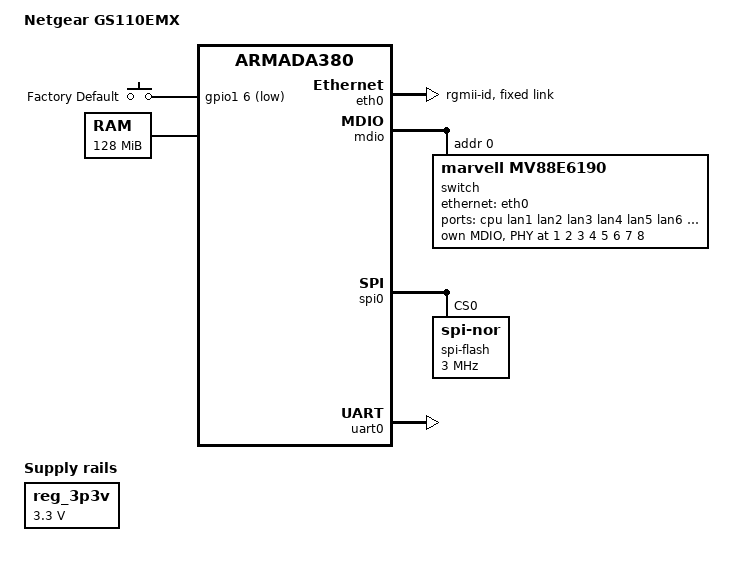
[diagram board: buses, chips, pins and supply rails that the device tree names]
// SPDX-License-Identifier: GPL-2.0-or-later OR MIT
/* Copyright (c) 2021, Marcel Ziswiler <marcel@ziswiler.com> */

/dts-v1/;
#include "armada-385.dtsi"
#include <dt-bindings/gpio/gpio.h>
#include <dt-bindings/input/input.h>

/ {
	model = "Netgear GS110EMX";
	compatible = "netgear,gs110emx", "marvell,armada385", "marvell,armada380";

	aliases {
		/* So that mvebu u-boot can update the MAC addresses */
		ethernet1 = &eth0;
	};

	chosen {
		stdout-path = "serial0:115200n8";
	};

	gpio-keys {
		compatible = "gpio-keys";
		pinctrl-0 = <&front_button_pins>;
		pinctrl-names = "default";

		factory_default {
			label = "Factory Default";
			gpios = <&gpio1 6 GPIO_ACTIVE_LOW>;
			linux,code = <KEY_RESTART>;
		};
	};

	memory {
		device_type = "memory";
		reg = <0x00000000 0x08000000>; /* 128 MB */
	};

	reg_3p3v: regulator-3p3v {
		compatible = "regulator-fixed";
		regulator-name = "3P3V";
		regulator-min-microvolt = <3300000>;
		regulator-max-microvolt = <3300000>;
		regulator-always-on;
	};

	soc {
		ranges = <MBUS_ID(0xf0, 0x01) 0 0xf1000000 0x100000
			  MBUS_ID(0x01, 0x1d) 0 0xfff00000 0x100000
			  MBUS_ID(0x09, 0x19) 0 0xf1100000 0x10000
			  MBUS_ID(0x09, 0x15) 0 0xf1110000 0x10000
			  MBUS_ID(0x0c, 0x04) 0 0xf1200000 0x100000>;

		internal-regs {
			rtc@a3800 {
				/*
				 * If the rtc doesn't work, run "date reset"
				 * twice in u-boot.
				 */
				status = "okay";
			};
		};
	};
};

&eth0 {
	/* ethernet@70000 */
        pinctrl-0 = <&ge0_rgmii_pins>;
        pinctrl-names = "default";
        phy-mode = "rgmii-id";
        buffer-manager = <&bm>;
        bm,pool-long = <0>;
        bm,pool-short = <1>;
        status = "okay";

	fixed-link {
		speed = <1000>;
		full-duplex;
	};
};

&mdio {
	pinctrl-names = "default";
	pinctrl-0 = <&mdio_pins>;
	status = "okay";

	switch@0 {
		compatible = "marvell,mv88e6190";
		#address-cells = <1>;
		#size-cells = <0>;
		reg = <0>;

		ports {
			#address-cells = <1>;
			#size-cells = <0>;

			port@0 {
				reg = <0>;
				label = "cpu";
				ethernet = <&eth0>;
			};

			port@1 {
				reg = <1>;
				label = "lan1";
				phy-handle = <&switch0phy0>;
			};

			port@2 {
				reg = <2>;
				label = "lan2";
				phy-handle = <&switch0phy1>;
			};

			port@3 {
				reg = <3>;
				label = "lan3";
				phy-handle = <&switch0phy2>;
			};

			port@4 {
				reg = <4>;
				label = "lan4";
				phy-handle = <&switch0phy3>;
			};

			port@5 {
				reg = <5>;
				label = "lan5";
				phy-handle = <&switch0phy4>;
			};

			port@6 {
				reg = <6>;
				label = "lan6";
				phy-handle = <&switch0phy5>;
			};

			port@7 {
				reg = <7>;
				label = "lan7";
				phy-handle = <&switch0phy6>;
			};

			port@8 {
				reg = <8>;
				label = "lan8";
				phy-handle = <&switch0phy7>;
			};

			port@9 {
				/* 88X3310P external phy */
				reg = <9>;
				label = "lan9";
//				phy-handle = <&phy1>;
//				phy-mode = "xaui";

				fixed-link {
					speed = <10000>;
					full-duplex;
				};
			};

			port@10 {
				/* 88X3310P external phy */
				reg = <10>;
				label = "lan10";
//				phy-handle = <&phy2>;
//				phy-mode = "xaui";

				fixed-link {
					speed = <10000>;
					full-duplex;
				};
			};
		};

		mdio {
			#address-cells = <1>;
			#size-cells = <0>;

			switch0phy0: switch0phy0@1 {
				reg = <0x1>;
			};

			switch0phy1: switch0phy1@2 {
				reg = <0x2>;
			};

			switch0phy2: switch0phy2@3 {
				reg = <0x3>;
			};

			switch0phy3: switch0phy3@4 {
				reg = <0x4>;
			};

			switch0phy4: switch0phy4@5 {
				reg = <0x5>;
			};

			switch0phy5: switch0phy5@6 {
				reg = <0x6>;
			};

			switch0phy6: switch0phy6@7 {
				reg = <0x7>;
			};

			switch0phy7: switch0phy7@8 {
				reg = <0x8>;
			};
		};
	};

#if 0
	phy1: ethernet-phy@1 {
		reg = <1>;
		compatible = "ethernet-phy-ieee802.3-c45";
	};

	phy2: ethernet-phy@2 {
		reg = <2>;
		compatible = "ethernet-phy-ieee802.3-c45";
	};

	ethernet-phy@3 {
		reg = <3>;
		compatible = "ethernet-phy-ieee802.3-c45";
	};

	ethernet-phy@4 {
		reg = <4>;
		compatible = "ethernet-phy-ieee802.3-c45";
	};

	ethernet-phy@5 {
		reg = <5>;
		compatible = "ethernet-phy-ieee802.3-c45";
	};

	ethernet-phy@6 {
		reg = <6>;
		compatible = "ethernet-phy-ieee802.3-c45";
	};

	ethernet-phy@7 {
		reg = <7>;
		compatible = "ethernet-phy-ieee802.3-c45";
	};
#endif
};

&pinctrl {
	front_button_pins: rear-button-pins {
		marvell,pins = "mpp38";
		marvell,function = "gpio";
	};
};

&spi0 {
	pinctrl-0 = <&spi0_pins>;
	pinctrl-names = "default";
	status = "okay";

	spi-flash@0 {
		#address-cells = <1>;
		#size-cells = <1>;
		compatible = "jedec,spi-nor";
		reg = <0>; /* Chip select 0 */
		spi-max-frequency = <3000000>;
//mtdparts=spi0.0:1m(boot),64k(env),64k(rsv),9m(image0),3m(config),-(debug)";
	};
};

&uart0 {
	pinctrl-0 = <&uart0_pins>;
	pinctrl-names = "default";
	status = "okay";
};
